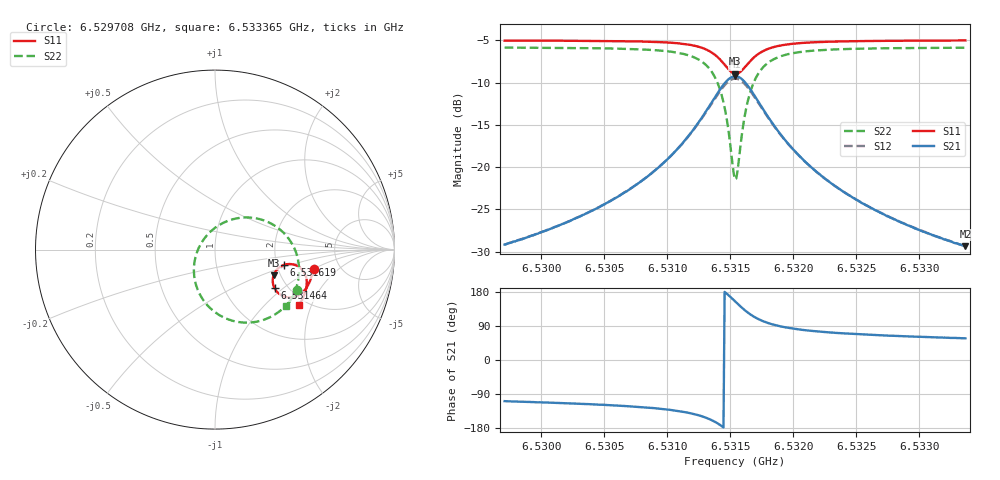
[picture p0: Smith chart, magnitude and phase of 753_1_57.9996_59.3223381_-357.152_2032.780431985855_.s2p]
#  HZ  S  RI  R  50.00
! Rohde & Schwarz Vector Network Analyzer
! Rohde-Schwarz,ZNB20-2Port,1311601062101988,3.16
! Created: UTC 3/21/2024, 1:24:04 AM
! freq[Hz]  re:S11  im:S11  re:S21  im:S21  re:S12  im:S12  re:S22  im:S22
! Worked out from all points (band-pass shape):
!   401 points, 6.529708 GHz to 6.533365 GHz, reference 50 ohm
!   highest |S21| = -9.25 dB at 6.531537 GHz (marker M1); lowest = -29.3 dB at 6.533365 GHz (marker M2)
!   |S21| within 3 dB of the highest: 6.531356 GHz to 6.531722 GHz (365.3 kHz wide, 0.00559 % of centre)
!   lowest |S11| = -9.0 dB at 6.531537 GHz (marker M3), VSWR 2.11, Z = 92.1 - j30.2 ohm
!   |S11| at or under -10 dB: nowhere
!   |S22| runs from -21.4 to -5.9 dB; largest |S21 - S12| = 0.014
!   S11 on the Smith chart (normalised r, x): 6.529708 GHz: 3.21, -1.00; 6.531464 GHz: 1.71, -0.88; 6.531619 GHz: 2.19, -0.44; 6.533365 GHz: 1.81, -1.64
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6.5297083e9  0.5498 -0.1067  -0.0111 -0.033  -0.0119 -0.0327  0.4562 -0.2265
6.5303208e9  0.5359 -0.1587  -0.0225 -0.0465  -0.0237 -0.0461  0.4187 -0.2843
6.5306774e9  0.5212 -0.1931  -0.0378 -0.0612  -0.0396 -0.0604  0.3787 -0.3276
6.5309334e9  0.5026 -0.2223  -0.0621 -0.0786  -0.0645 -0.0767  0.3243 -0.3671
6.5311437e9  0.4717 -0.2505  -0.1078 -0.0975  -0.1107 -0.0934  0.2334 -0.4014
6.5313083e9  0.4187 -0.2669  -0.1904 -0.0988  -0.1921 -0.0905  0.0837 -0.3922
6.5313997e9  0.3679 -0.2539  -0.2681 -0.0596  -0.2651 -0.0482  -0.0423 -0.3104
6.5314363e9  0.3459 -0.236  -0.3 -0.0228  -0.2936 -0.0112  -0.0882 -0.242
6.5314637e9  0.3321 -0.2161  -0.3187 0.0155  -0.3094 0.0259  -0.1113 -0.1748
6.5315186e9  0.3222 -0.1624  -0.324 0.1125  -0.3105 0.1174  -0.1007 -0.0153
6.5315369e9  0.3265 -0.1431  -0.3127 0.1456  -0.2992 0.148  -0.0764 0.0365
6.5315551e9  0.3349 -0.1253  -0.2953 0.1759  -0.2822 0.1762  -0.0423 0.0826
6.5315917e9  0.3607 -0.0974  -0.2462 0.2221  -0.2355 0.219  0.0461 0.1494
6.5316191e9  0.3842 -0.0854  -0.2039 0.2417  -0.1956 0.237  0.1191 0.1738
6.5316466e9  0.4075 -0.0805  -0.1627 0.2491  -0.1567 0.2442  0.1885 0.1789
6.5316831e9  0.4351 -0.0824  -0.1149 0.2455  -0.1112 0.241  0.2676 0.1643
6.5317746e9  0.4801 -0.1068  -0.0385 0.2081  -0.037 0.2057  0.3907 0.0849
6.5319117e9  0.5056 -0.1468  0.0056 0.1517  0.00703 0.1508  0.455 -0.0268
6.5321494e9  0.5114 -0.1946  0.0227 0.0962  0.0239 0.0956  0.4678 -0.1396
6.5324146e9  0.5052 -0.2294  0.024 0.0659  0.0252 0.0657  0.4548 -0.2067
6.532762e9  0.4928 -0.2633  0.0222 0.0456  0.0229 0.0453  0.4336 -0.2593
6.5333654e9  0.4682 -0.31  0.0185 0.0287  0.019 0.0284  0.3978 -0.3165
